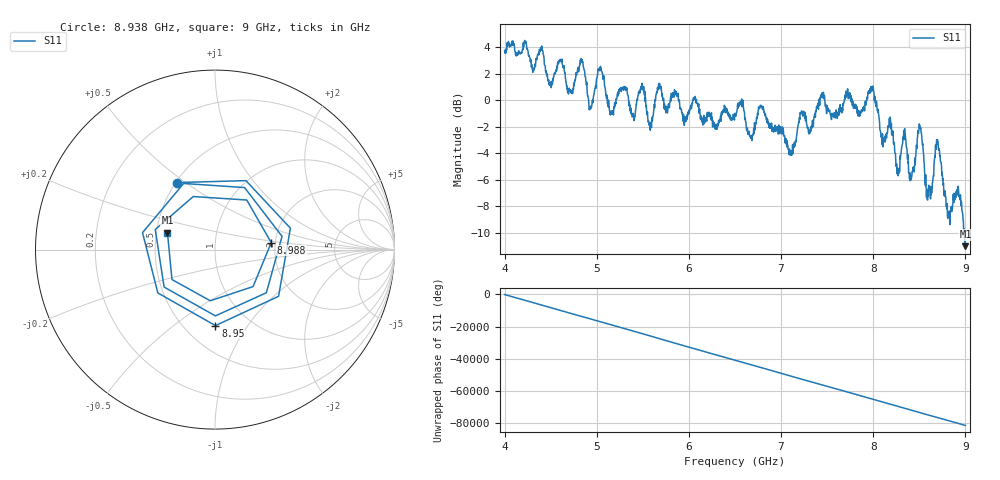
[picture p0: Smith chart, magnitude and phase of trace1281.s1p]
! Created with skrf 1.8.0 (http://scikit-rf.org).
# Hz S RI R 50.0
!freq ReS11 ImS11
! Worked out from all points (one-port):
!   1601 points, 4 GHz to 9 GHz, reference 50 ohm
!   lowest |S11| = -11.0 dB at 9 GHz (marker M1), VSWR 1.78, Z = 28.6 + j5.89 ohm
!   |S11| at or under -10 dB: 8.987863 GHz to end of sweep
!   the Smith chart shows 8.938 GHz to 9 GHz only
!   S11 on the Smith chart (normalised r, x): 8.938 GHz: 0.51, +0.47; 8.95 GHz: 0.70, -0.72; 8.988 GHz: 1.90, +0.16; 9 GHz: 0.57, +0.12
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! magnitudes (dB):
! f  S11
! 4 GHz  3.7
! 4.625 GHz  2.7
! 4.716 GHz  0.8
! 4.841 GHz  3.1
! 4.934 GHz  -0.7
! 5.034 GHz  2.4
! 5.156 GHz  -0.8
! 5.25 GHz  0.9
! 5.394 GHz  -1.0
! 5.497 GHz  0.8
! 5.581 GHz  -2.3
! 5.672 GHz  1.3
! 5.875 GHz  0.4
! 6.5 GHz  -1.0
! 7.125 GHz  -3.4
! 7.225 GHz  -0.8
! 7.75 GHz  0.4
! 7.984 GHz  0.7
! 8.1 GHz  -2.5
! 8.375 GHz  -4.1
! 8.506 GHz  -1.9
! 8.597 GHz  -7.2
! 8.7 GHz  -3.1
! 8.812 GHz  -8.6
! 8.938 GHz  -7.4
! 8.95 GHz  -7.5
! 8.988 GHz  -10.0
! 9 GHz  -11.0
